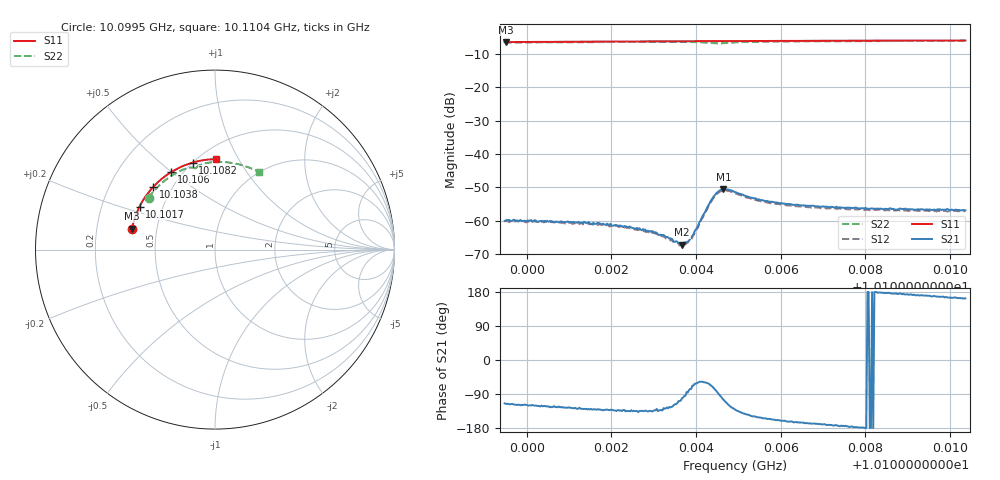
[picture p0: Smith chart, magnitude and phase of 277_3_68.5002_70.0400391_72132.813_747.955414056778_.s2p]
#  HZ  S  RI  R  50.00
! Rohde & Schwarz Vector Network Analyzer
! Rohde-Schwarz,ZNB20-2Port,1311601062101988,3.16
! Created: UTC 3/20/2024, 5:01:01 PM
! freq[Hz]  re:S11  im:S11  re:S21  im:S21  re:S12  im:S12  re:S22  im:S22
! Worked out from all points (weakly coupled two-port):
!   401 points, 10.0995 GHz to 10.1104 GHz, reference 50 ohm
!   highest |S21| = -50.50 dB at 10.1046 GHz (marker M1); lowest = -67.1 dB at 10.1037 GHz (marker M2)
!   lowest |S11| = -6.4 dB at 10.0995 GHz (marker M3), VSWR 2.82, Z = 18 + j5.4 ohm
!   |S11| at or under -10 dB: nowhere
!   |S22| runs from -6.8 to -6.1 dB; largest |S21 - S12| = 0.00029
!   S11 on the Smith chart (normalised r, x): 10.0995 GHz: 0.36, +0.11; 10.1017 GHz: 0.37, +0.23; 10.1038 GHz: 0.39, +0.36; 10.106 GHz: 0.43, +0.50; 10.1082 GHz: 0.50, +0.65; 10.1104 GHz: 0.60, +0.81
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1.009948e10  -0.4626 0.1145  -0.000413 -0.000908  -0.000366 -0.000948  -0.3701 0.2886
1.00995e10  -0.4621 0.1162  -0.000441 -0.000914  -0.000366 -0.000919  -0.3691 0.29
1.01013e10  -0.4294 0.2206  -0.000591 -0.000729  -0.000525 -0.000781  -0.291 0.3754
1.010165e10  -0.4203 0.2399  -0.000604 -0.000685  -0.00052 -0.000723  -0.2732 0.3899
1.010247e10  -0.3957 0.2831  -0.000538 -0.000584  -0.000495 -0.000599  -0.229 0.4198
1.010299e10  -0.3778 0.3089  -0.000483 -0.000496  -0.000418 -0.000511  -0.1986 0.4362
1.010312e10  -0.3727 0.3156  -0.000419 -0.000448  -0.000371 -0.000477  -0.1904 0.4402
1.010329e10  -0.3666 0.3234  -0.000348 -0.000451  -0.0003 -0.000455  -0.18 0.4445
1.010353e10  -0.3574 0.3348  -0.00022 -0.000445  -0.000178 -0.000444  -0.1641 0.4505
1.010367e10  -0.3518 0.3411  -8.43e-05 -0.000434  -4.6e-05 -0.000428  -0.1547 0.4532
1.010383e10  -0.3453 0.3483  8.85e-05 -0.000497  0.000137 -0.00048  -0.143 0.4559
1.010397e10  -0.3396 0.3543  0.000321 -0.00062  0.000345 -0.000569  -0.1327 0.4571
1.01044e10  -0.3208 0.3729  0.000691 -0.00215  0.000821 -0.00201  -0.1051 0.4472
1.010451e10  -0.316 0.3774  0.000175 -0.00268  0.000413 -0.00255  -0.1053 0.4437
1.010465e10  -0.31 0.3828  -0.000753 -0.00289  -0.000496 -0.00279  -0.1077 0.4458
1.010492e10  -0.2975 0.3936  -0.00175 -0.00205  -0.00153 -0.00209  -0.1004 0.461
1.010552e10  -0.2687 0.4156  -0.0018 -0.000959  -0.00167 -0.00106  -0.0612 0.4794
1.010601e10  -0.2438 0.4321  -0.00173 -0.000621  -0.00161 -0.000752  -0.0282 0.4855
1.010674e10  -0.2051 0.4535  -0.00165 -0.000351  -0.00151 -0.000488  0.0203 0.4885
1.010819e10  -0.1239 0.4852  -0.00154 -3.36e-06  -0.00146 -0.00015  0.1125 0.4796
1.010857e10  -0.1015 0.4911  -0.00153 8.4e-05  -0.00145 -5.61e-05  0.1362 0.4741
1.011036e10  0.00622 0.5038  -0.00138 0.000433  -0.00138 0.000265  0.2428 0.4331
